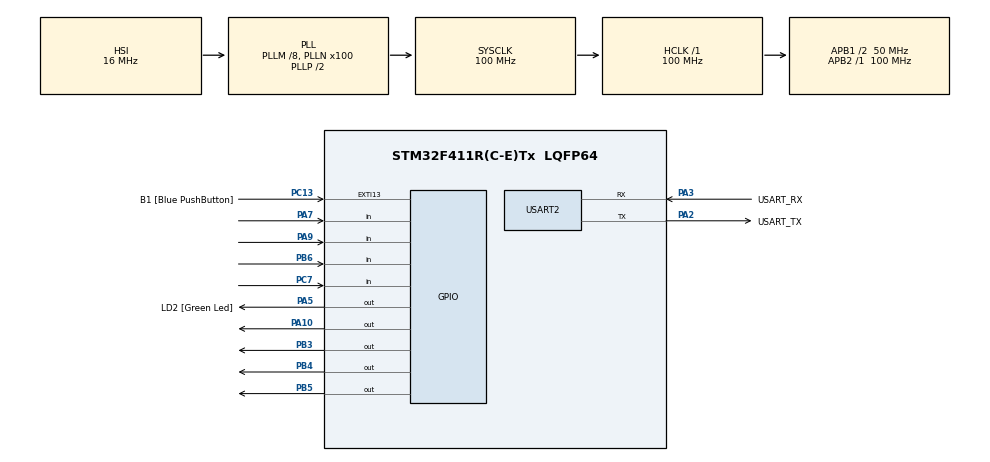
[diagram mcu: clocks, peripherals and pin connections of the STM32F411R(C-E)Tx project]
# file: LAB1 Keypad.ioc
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Mcu.Family=STM32F4
Mcu.Name=STM32F411R(C-E)Tx
Mcu.Package=LQFP64
NVIC.PriorityGroup=NVIC_PRIORITYGROUP_0
PA10.GPIO_ModeDefaultOutputPP=GPIO_MODE_OUTPUT_OD
PA10.GPIO_PuPd=GPIO_NOPULL
PA10.Signal=GPIO_Output
PA13.GPIO_Label=TMS
PA13.Mode=Serial_Wire
PA13.Signal=SYS_JTMS-SWDIO
PA14.GPIO_Label=TCK
PA14.Mode=Serial_Wire
PA14.Signal=SYS_JTCK-SWCLK
PA2.GPIO_Label=USART_TX
PA2.Mode=Asynchronous
PA2.Signal=USART2_TX
PA3.GPIO_Label=USART_RX
PA3.Mode=Asynchronous
PA3.Signal=USART2_RX
PA5.GPIO_Label=LD2 [Green Led]
PA5.Signal=GPIO_Output
PA7.GPIO_PuPd=GPIO_PULLUP
PA7.Signal=GPIO_Input
PA9.GPIO_PuPd=GPIO_PULLUP
PA9.Signal=GPIO_Input
PB3.GPIO_ModeDefaultOutputPP=GPIO_MODE_OUTPUT_OD
PB3.GPIO_PuPd=GPIO_NOPULL
PB3.Signal=GPIO_Output
PB4.GPIO_ModeDefaultOutputPP=GPIO_MODE_OUTPUT_OD
PB4.GPIO_PuPd=GPIO_NOPULL
PB4.Signal=GPIO_Output
PB5.GPIO_ModeDefaultOutputPP=GPIO_MODE_OUTPUT_OD
PB5.GPIO_PuPd=GPIO_NOPULL
PB5.Signal=GPIO_Output
PB6.GPIO_PuPd=GPIO_PULLUP
PB6.Signal=GPIO_Input
PC13-ANTI_TAMP.GPIO_Label=B1 [Blue PushButton]
PC13-ANTI_TAMP.GPIO_ModeDefaultEXTI=GPIO_MODE_IT_FALLING
PC13-ANTI_TAMP.Signal=GPXTI13
PC14-OSC32_IN.Mode=LSE-External-Oscillator
PC14-OSC32_IN.Signal=RCC_OSC32_IN
PC15-OSC32_OUT.Mode=LSE-External-Oscillator
PC15-OSC32_OUT.Signal=RCC_OSC32_OUT
PC7.GPIO_PuPd=GPIO_PULLUP
PC7.Signal=GPIO_Input
PH0\ -\ OSC_IN.Mode=HSE-External-Clock-Source
PH0\ -\ OSC_IN.Signal=RCC_OSC_IN
PH1\ -\ OSC_OUT.Mode=HSE-External-Clock-Source
PH1\ -\ OSC_OUT.Signal=RCC_OSC_OUT
ProjectManager.HeapSize=0x200
ProjectManager.StackSize=0x400
ProjectManager.TargetToolchain=STM32CubeIDE
RCC.48MHZClocksFreq_Value=50000000
RCC.AHBFreq_Value=100000000
RCC.APB1CLKDivider=RCC_HCLK_DIV2
RCC.APB1Freq_Value=50000000
RCC.APB1TimFreq_Value=100000000
RCC.APB2Freq_Value=100000000
RCC.APB2TimFreq_Value=100000000
RCC.CortexFreq_Value=100000000
RCC.FLatency-AdvancedSettings=FLASH_LATENCY_3
RCC.HCLKFreq_Value=100000000
RCC.HSE_VALUE=8000000
RCC.HSI_VALUE=16000000
RCC.PLLM=8
RCC.PLLN=100
RCC.SYSCLKFreq_VALUE=100000000
RCC.SYSCLKSource=RCC_SYSCLKSOURCE_PLLCLK
RCC.VCOOutputFreq_Value=200000000
USART2.VirtualMode=VM_ASYNC
board=NUCLEO-F411RE

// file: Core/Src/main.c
/* USER CODE BEGIN Header */
/**
 ******************************************************************************
 * @file           : main.c
 * @brief          : Main program body
 ******************************************************************************
 * @attention
 *
 * Copyright (c) 2023 STMicroelectronics.
 * All rights reserved.
 *
 * This software is licensed under terms that can be found in the LICENSE file
 * in the root directory of this software component.
 * If no LICENSE file comes with this software, it is provided AS-IS.
 *
 ******************************************************************************
 */
/* USER CODE END Header */
#include "main.h"

/* USER CODE BEGIN Includes */
#include <math.h>
#include <stdbool.h>
/* USER CODE END Includes */

UART_HandleTypeDef huart2;

/* USER CODE BEGIN PV */

// Create PortPin struct
struct PortPin {
	GPIO_TypeDef *PORT;
	uint16_t PIN;
};

// Set Matrix Row Column GPIOs
struct PortPin R[4] = { { GPIOA, GPIO_PIN_10 }, { GPIOB, GPIO_PIN_3 }, { GPIOB,
GPIO_PIN_5 }, { GPIOB, GPIO_PIN_4 } };

struct PortPin L[4] = { { GPIOA, GPIO_PIN_9 }, { GPIOC, GPIO_PIN_7 }, { GPIOB,
GPIO_PIN_6 }, { GPIOA, GPIO_PIN_7 } };

// 16 bit variable that hold the button value;
uint16_t ButtonMatrix = 0;
uint16_t ButtonMatrix_L = 0; // Last value

// current password buffer
uint64_t password = 1;

/* USER CODE END PV */

void SystemClock_Config(void);
static void MX_GPIO_Init(void);
static void MX_USART2_UART_Init(void);
/* USER CODE BEGIN PFP */
void ReadMatrixButton_1Row();

/* USER CODE END PFP */

int main(void) {

	/* MCU Configuration--------------------------------------------------------*/

	/* Reset of all peripherals, Initializes the Flash interface and the Systick. */
	HAL_Init();

	/* Configure the system clock */
	SystemClock_Config();

	/* Initialize all configured peripherals */
	MX_GPIO_Init();
	MX_USART2_UART_Init();

	/* Infinite loop */
	/* USER CODE BEGIN WHILE */
	while (1) {
		// run function every 10ms
		static uint32_t timestamp = 0;
		if (HAL_GetTick() >= timestamp) {
			timestamp = HAL_GetTick() + 10;
			ReadMatrixButton_1Row();
		}

		// detect changes (must not run when release key)
		if (ButtonMatrix_L != ButtonMatrix && ButtonMatrix != 0) {
			uint8_t key = log2(ButtonMatrix) + 1;

			// check if key is a number
			if (key > 0 && key < 12 && key != 8) {
				switch (key) {
				case 1:
					key = 7;
					break;
				case 2:
					key = 4;
					break;
				case 3:
					key = 1;
					break;
				case 4:
					key = 0;
					break;
				case 5:
					key = 8;
					break;
				case 6:
					key = 5;
					break;
				case 7:
					key = 2;
					break;
				case 9:
					key = 9;
					break;
				case 10:
					key = 6;
					break;
				case 11:
					key = 3;
					break;
				}
				password *= 10;
				password += key;
			}

			// other clear and backspace
			if (key == 13) {
				HAL_GPIO_WritePin(GPIOA, GPIO_PIN_5, GPIO_PIN_RESET);
				password = 1;
			} else if (key == 14) {
				password /= 10;
			}

			if(!password){
				password = 1;
			}

			// ok button
			if(key == 16){
				if(password == 164340500034){
					HAL_GPIO_WritePin(GPIOA, GPIO_PIN_5, GPIO_PIN_SET);
				}
			}

		}

		// update last value
		ButtonMatrix_L = ButtonMatrix;

		/* USER CODE END WHILE */

	}
}

void SystemClock_Config(void) {
	RCC_OscInitTypeDef RCC_OscInitStruct = { 0 };
	RCC_ClkInitTypeDef RCC_ClkInitStruct = { 0 };

	/** Configure the main internal regulator output voltage
	 */
	__HAL_RCC_PWR_CLK_ENABLE();
	__HAL_PWR_VOLTAGESCALING_CONFIG(PWR_REGULATOR_VOLTAGE_SCALE1);

	/** Initializes the RCC Oscillators according to the specified parameters
	 * in the RCC_OscInitTypeDef structure.
	 */
	RCC_OscInitStruct.OscillatorType = RCC_OSCILLATORTYPE_HSI;
	RCC_OscInitStruct.HSIState = RCC_HSI_ON;
	RCC_OscInitStruct.HSICalibrationValue = RCC_HSICALIBRATION_DEFAULT;
	RCC_OscInitStruct.PLL.PLLState = RCC_PLL_ON;
	RCC_OscInitStruct.PLL.PLLSource = RCC_PLLSOURCE_HSI;
	RCC_OscInitStruct.PLL.PLLM = 8;
	RCC_OscInitStruct.PLL.PLLN = 100;
	RCC_OscInitStruct.PLL.PLLP = RCC_PLLP_DIV2;
	RCC_OscInitStruct.PLL.PLLQ = 4;
	if (HAL_RCC_OscConfig(&RCC_OscInitStruct) != HAL_OK) {
		Error_Handler();
	}

	/** Initializes the CPU, AHB and APB buses clocks
	 */
	RCC_ClkInitStruct.ClockType = RCC_CLOCKTYPE_HCLK | RCC_CLOCKTYPE_SYSCLK
			| RCC_CLOCKTYPE_PCLK1 | RCC_CLOCKTYPE_PCLK2;
	RCC_ClkInitStruct.SYSCLKSource = RCC_SYSCLKSOURCE_PLLCLK;
	RCC_ClkInitStruct.AHBCLKDivider = RCC_SYSCLK_DIV1;
	RCC_ClkInitStruct.APB1CLKDivider = RCC_HCLK_DIV2;
	RCC_ClkInitStruct.APB2CLKDivider = RCC_HCLK_DIV1;

	if (HAL_RCC_ClockConfig(&RCC_ClkInitStruct, FLASH_LATENCY_3) != HAL_OK) {
		Error_Handler();
	}
}

static void MX_USART2_UART_Init(void) {

	huart2.Instance = USART2;
	huart2.Init.BaudRate = 115200;
	huart2.Init.WordLength = UART_WORDLENGTH_8B;
	huart2.Init.StopBits = UART_STOPBITS_1;
	huart2.Init.Parity = UART_PARITY_NONE;
	huart2.Init.Mode = UART_MODE_TX_RX;
	huart2.Init.HwFlowCtl = UART_HWCONTROL_NONE;
	huart2.Init.OverSampling = UART_OVERSAMPLING_16;
	if (HAL_UART_Init(&huart2) != HAL_OK) {
		Error_Handler();
	}

}

static void MX_GPIO_Init(void) {
	GPIO_InitTypeDef GPIO_InitStruct = { 0 };

	/* GPIO Ports Clock Enable */
	__HAL_RCC_GPIOC_CLK_ENABLE();
	__HAL_RCC_GPIOH_CLK_ENABLE();
	__HAL_RCC_GPIOA_CLK_ENABLE();
	__HAL_RCC_GPIOB_CLK_ENABLE();

	/*Configure GPIO pin Output Level */
	HAL_GPIO_WritePin(GPIOA, LD2_Pin | GPIO_PIN_10, GPIO_PIN_RESET);

	/*Configure GPIO pin Output Level */
	HAL_GPIO_WritePin(GPIOB, GPIO_PIN_3 | GPIO_PIN_4 | GPIO_PIN_5,
			GPIO_PIN_RESET);

	/*Configure GPIO pin : B1_Pin */
	GPIO_InitStruct.Pin = B1_Pin;
	GPIO_InitStruct.Mode = GPIO_MODE_IT_FALLING;
	GPIO_InitStruct.Pull = GPIO_NOPULL;
	HAL_GPIO_Init(B1_GPIO_Port, &GPIO_InitStruct);

	/*Configure GPIO pin : LD2_Pin */
	GPIO_InitStruct.Pin = LD2_Pin;
	GPIO_InitStruct.Mode = GPIO_MODE_OUTPUT_PP;
	GPIO_InitStruct.Pull = GPIO_NOPULL;
	GPIO_InitStruct.Speed = GPIO_SPEED_FREQ_LOW;
	HAL_GPIO_Init(LD2_GPIO_Port, &GPIO_InitStruct);

	/*Configure GPIO pins : PA7 PA9 */
	GPIO_InitStruct.Pin = GPIO_PIN_7 | GPIO_PIN_9;
	GPIO_InitStruct.Mode = GPIO_MODE_INPUT;
	GPIO_InitStruct.Pull = GPIO_PULLUP;
	HAL_GPIO_Init(GPIOA, &GPIO_InitStruct);

	/*Configure GPIO pin : PC7 */
	GPIO_InitStruct.Pin = GPIO_PIN_7;
	GPIO_InitStruct.Mode = GPIO_MODE_INPUT;
	GPIO_InitStruct.Pull = GPIO_PULLUP;
	HAL_GPIO_Init(GPIOC, &GPIO_InitStruct);

	/*Configure GPIO pin : PA10 */
	GPIO_InitStruct.Pin = GPIO_PIN_10;
	GPIO_InitStruct.Mode = GPIO_MODE_OUTPUT_OD;
	GPIO_InitStruct.Pull = GPIO_NOPULL;
	GPIO_InitStruct.Speed = GPIO_SPEED_FREQ_LOW;
	HAL_GPIO_Init(GPIOA, &GPIO_InitStruct);

	/*Configure GPIO pins : PB3 PB4 PB5 */
	GPIO_InitStruct.Pin = GPIO_PIN_3 | GPIO_PIN_4 | GPIO_PIN_5;
	GPIO_InitStruct.Mode = GPIO_MODE_OUTPUT_OD;
	GPIO_InitStruct.Pull = GPIO_NOPULL;
	GPIO_InitStruct.Speed = GPIO_SPEED_FREQ_LOW;
	HAL_GPIO_Init(GPIOB, &GPIO_InitStruct);

	/*Configure GPIO pin : PB6 */
	GPIO_InitStruct.Pin = GPIO_PIN_6;
	GPIO_InitStruct.Mode = GPIO_MODE_INPUT;
	GPIO_InitStruct.Pull = GPIO_PULLUP;
	HAL_GPIO_Init(GPIOB, &GPIO_InitStruct);

}

/* USER CODE BEGIN 4 */
void ReadMatrixButton_1Row() {
	static uint8_t X = 0;
	register int i;

	// scan for pin that is low
	for (i = 0; i < 4; i++) {
		if (HAL_GPIO_ReadPin(L[i].PORT, L[i].PIN)) {
			ButtonMatrix &= ~(1 << (X * 4 + i));
		} else {
			ButtonMatrix |= 1 << (X * 4 + i);
		}
	}

	// set next pin to read
	HAL_GPIO_WritePin(R[X].PORT, R[X].PIN, 1);
	HAL_GPIO_WritePin(R[(X + 1) % 4].PORT, R[(X + 1) % 4].PIN, 0);
	X++;
	X %= 4;
}

/* USER CODE END 4 */

void Error_Handler(void) {
	__disable_irq();
	while (1) {
	}
}
